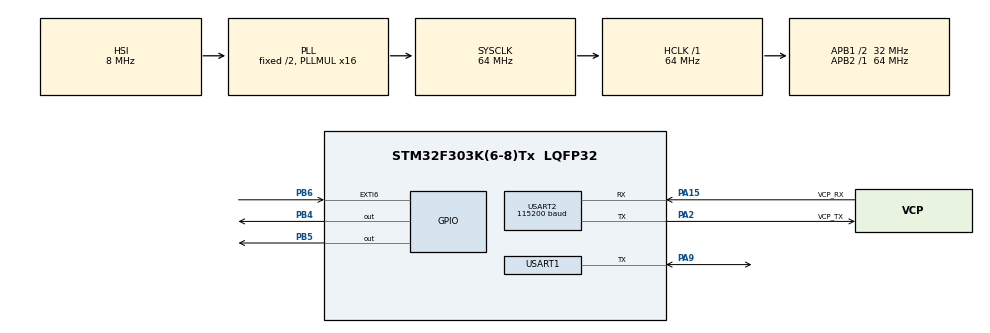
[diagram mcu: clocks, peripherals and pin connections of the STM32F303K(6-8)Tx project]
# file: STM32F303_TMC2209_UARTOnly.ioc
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Mcu.Family=STM32F3
Mcu.Name=STM32F303K(6-8)Tx
Mcu.Package=LQFP32
NVIC.EXTI9_5_IRQn=true\:1\:0\:true\:false\:true\:true\:true\:true
NVIC.PriorityGroup=NVIC_PRIORITYGROUP_4
NVIC.USART1_IRQn=true\:1\:0\:true\:false\:true\:true\:true\:true
NVIC.USART2_IRQn=true\:0\:0\:false\:false\:true\:true\:true\:true
PA13.GPIO_Label=SWDIO
PA13.Mode=Serial_Wire
PA13.Signal=SYS_JTMS-SWDIO
PA14.GPIO_Label=SWCLK
PA14.Mode=Serial_Wire
PA14.Signal=SYS_JTCK-SWCLK
PA15.GPIO_Label=VCP_RX
PA15.Mode=Asynchronous
PA15.Signal=USART2_RX
PA2.GPIO_Label=VCP_TX
PA2.Mode=Asynchronous
PA2.Signal=USART2_TX
PA9.Mode=Half_duplex(single_wire_mode)
PA9.Signal=USART1_TX
PB4.Signal=GPIO_Output
PB5.Signal=GPIO_Output
PB6.GPIO_ModeDefaultEXTI=GPIO_MODE_IT_RISING_FALLING
PB6.Signal=GPXTI6
PF0\ /\ OSC_IN.GPIO_Label=MCO
PF0\ /\ OSC_IN.Signal=RCC_OSC_IN
ProjectManager.HeapSize=0x200
ProjectManager.StackSize=0x400
ProjectManager.TargetToolchain=STM32CubeIDE
RCC.AHBFreq_Value=64000000
RCC.APB1CLKDivider=RCC_HCLK_DIV2
RCC.APB1Freq_Value=32000000
RCC.APB1TimFreq_Value=64000000
RCC.APB2Freq_Value=64000000
RCC.APB2TimFreq_Value=64000000
RCC.CortexFreq_Value=64000000
RCC.HCLKFreq_Value=64000000
RCC.HSE_VALUE=8000000
RCC.HSI_VALUE=8000000
RCC.PLLMUL=RCC_PLL_MUL16
RCC.SYSCLKFreq_VALUE=64000000
RCC.SYSCLKSourceVirtual=RCC_SYSCLKSOURCE_PLLCLK
USART1.BaudRate=500000
USART1.VirtualMode-Half_duplex(single_wire_mode)=VM_ASYNC
USART2.BaudRate=115200
USART2.VirtualMode-Asynchronous=VM_ASYNC
board=NUCLEO-F303K8

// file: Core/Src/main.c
/* USER CODE BEGIN Header */
/**
  ******************************************************************************
  * @file           : main.c
  * @brief          : Main program body
  ******************************************************************************
  * @attention
  *
  * Copyright (c) 2022 STMicroelectronics.
  * All rights reserved.
  *
  * This software is licensed under terms that can be found in the LICENSE file
  * in the root directory of this software component.
  * If no LICENSE file comes with this software, it is provided AS-IS.
  *
  ******************************************************************************
  */
/* USER CODE END Header */
#include "main.h"

/* USER CODE BEGIN Includes */
#include <stdio.h>
#include "tmc/ic/TMC2209/TMC2209.h"
#include <math.h>

/* USER CODE END Includes */

/* USER CODE BEGIN PTD */
typedef struct {
	float acceleration;
	volatile unsigned int minStepInterval;
	void (*dirFunc)(int);
	void (*stepFunc)();

	uint8_t homing;
	unsigned int c0;
	volatile int stepPosition;

	volatile int dir; // 1 or -1
	volatile int dir_inv; //set 1 to reverse the dir

	volatile int pull_off; //set pull_off distance

	volatile int seeking_vel;
	volatile int homing_vel;

	volatile unsigned int totalSteps;

	volatile char movementDone;
	volatile unsigned int rampUpStepCount;
	volatile unsigned int n; // index
	volatile float d; // current interval length
	volatile unsigned long di; // d -> unsigned  di
	volatile unsigned int stepCount;

}stepperInfo;

typedef struct{
	volatile int checkcount;
	volatile int countperiod;

}checkerInfo;

/* USER CODE END PTD */

/* USER CODE BEGIN PD */
#define TMC2209_CRC(data, length) tmc_CRC8(data, length, 1)

//#define NUM_stepper 1

/* USER CODE END PD */

 UART_HandleTypeDef huart1;
UART_HandleTypeDef huart2;

/* USER CODE BEGIN PV */
//static TMC2209TypeDef TMC2209; //TMC2209の設定などの定義
//static ConfigurationTypeDef *TMC2209_config; //TMC2209の設定
TMC2209TypeDef TMC2209; //TMC2209の設定などの定義
ConfigurationTypeDef TMC2209_config; //TMC2209の設定
volatile stepperInfo stepper[1];    //stepperInfo型の配列stepperにNUM_stepperで定義した値を代入
uint8_t uartflag1=0;
uint8_t end_stop_state=0;

/* USER CODE END PV */

void SystemClock_Config(void);
static void MX_GPIO_Init(void);
static void MX_USART2_UART_Init(void);
static void MX_USART1_UART_Init(void);
/* USER CODE BEGIN PFP */
//static void periodicJob(uint32_t tick);
static uint8_t reset(void);
static uint8_t restore(void);
//static TMC2209TypeDef TMC2209;

/* USER CODE END PFP */

/* USER CODE BEGIN 0 */
void tmc2209_readWriteArray(uint8_t channel, uint8_t *data, size_t writeLength, size_t readLength)
{
	//set your uart read write
	//UART_readWrite(channelToUART(channel), data, writeLength, readLength);
	HAL_HalfDuplex_EnableTransmitter(&huart1);
	HAL_UART_Transmit(&huart1, data, writeLength,3000);
//	HAL_UART_Transmit_IT(&huart1, data, writeLength);

	if(readLength > 0){
		HAL_HalfDuplex_EnableReceiver(&huart1);
		HAL_UART_Receive(&huart1, data, readLength,3000);
//		HAL_UART_Receive_IT(&huart1, data, readLength);
	}
}

uint8_t tmc2209_CRC8(uint8_t *data, size_t length)
{
	return TMC2209_CRC(data, length);
}

static uint8_t reset()
{
	return tmc2209_reset(&TMC2209);
}

static uint8_t restore()
{
	return tmc2209_restore(&TMC2209);
}

void TMC2209_INIT()
{
	tmc_fillCRC8Table(0x07, true, 1);

	TMC2209_config.reset = reset;
	TMC2209_config.restore = restore;
	tmc2209_init(&TMC2209, 0, 0, &TMC2209_config, &tmc2209_defaultRegisterResetState[0]);

	//restore();
}

static inline TMC2209TypeDef *motorToIC(uint8_t motor)
{
	UNUSED(motor);

	return &TMC2209;
}

void currentcheck(){
//	int32_t SGTHRS_value = 0;
//	int32_t stall_value=0;
//	int32_t value=0;

//	stall_value=tmc2209_readInt(&TMC2209,0x06);
//	stall_value=TMC2209_FIELD_READ(&TMC2209, 0x06, TMC2209_DIAG_MASK, TMC2209_DIAG_SHIFT);
//	tmc2209_periodicJob(&TMC2209, HAL_GetTick());

//	printf("stall: %ld \r\n",stall_value);
//	if(stall_value==1){
//		value = 0;
//		TMC2209_FIELD_UPDATE(&TMC2209, 0x22, TMC2209_VACTUAL_MASK, TMC2209_VACTUAL_SHIFT,value);
////		printf("stall:\r\n");
//		stall_value=0;
//		while(uartflag1!=1){
//
//				  }
//			  }
	//
//		tstep_value=TMC2209_FIELD_READ(&TMC2209, TMC2209_TSTEP, TMC2209_TSTEP_MASK, TMC2209_TSTEP_SHIFT);
//		printf("tstep: %ld\r\n", tstep_value);
//		tmc2209_periodicJob(&TMC2209, HAL_GetTick());

//		SGTHRS_value = tmc2209_readInt(&TMC2209, TMC2209_SG_RESULT);
//		printf("SG_RESULT: %d\r\n", SGTHRS_value);
//		tmc2209_periodicJob(&TMC2209, HAL_GetTick());

//		current_value=tmc2209_readInt(&TMC2209, TMC2209_SG_RESULT);	//保持トルクの設定
//		printf("SG_RESULT : %ld\r\n", current_value);

	//	value = 3;
	//	TMC2209_FIELD_UPDATE(&TMC2209, TMC2209_GCONF, TMC2209_DIAG_MASK, TMC2209_DIAG_SHIFT,value);
	//	tmc2209_periodicJob(&TMC2209, HAL_GetTick());

//		value=TMC2209_FIELD_READ(&TMC2209, TMC2209_IOIN, TMC2209_DIAG_MASK, TMC2209_DIAG_SHIFT);
//		printf("DIAG : %ld\r\n", value);
//		tmc2209_periodicJob(&TMC2209, HAL_GetTick());

}

void HAL_UART_RxCpltCallback(UART_HandleTypeDef *huart)
{
	//int32_t SGTHRS_value = 0;
	uartflag1 = 1;
	printf("uart_timer\r\n");
	//HAL_UART_Receive_IT(&huart2,(uint8_t *)rxbuf, 1);
	//SGTHRS_value = tmc2209_readInt(&TMC2209, TMC2209_SGTHRS);
	//currentdata();
}
//void HAL_GPIO_EXTI_Callback(uint16_t GPIO_Pin)
//{
//	//stepper 0 end stop senssor
//	if(GPIO_Pin == GPIO_PIN_6 ){
//		if(!HAL_GPIO_ReadPin(GPIOB, GPIO_PIN_6)){
//			end_stop_state |= 1;
//		}
//		if(HAL_GPIO_ReadPin(GPIOB, GPIO_PIN_6)){
//			end_stop_state &= ~1;
//		}
//	}
//}

void TMCsetup(){
	int32_t value = 0;

	value = 16;
	TMC2209_FIELD_UPDATE(&TMC2209, TMC2209_IHOLD_IRUN, TMC2209_IRUN_MASK, TMC2209_IRUN_SHIFT, value);	//実行電流
	tmc2209_periodicJob(&TMC2209, HAL_GetTick());
	HAL_Delay(100);
	value=TMC2209_FIELD_READ(&TMC2209, TMC2209_IHOLD_IRUN, TMC2209_IRUN_MASK, TMC2209_IRUN_SHIFT);
	printf("IRUN: %ld\r\n", value);

	value= 16;																						//モーター待機時の電流の設定
	TMC2209_FIELD_UPDATE(&TMC2209,TMC2209_IHOLD_IRUN, TMC2209_IHOLD_MASK, TMC2209_IHOLD_SHIFT, value);
	tmc2209_periodicJob(&TMC2209, HAL_GetTick());
	HAL_Delay(100);
	value=TMC2209_FIELD_READ(&TMC2209, TMC2209_IHOLD_IRUN, TMC2209_IHOLD_MASK, TMC2209_IHOLD_SHIFT);	//保持電流
	printf("IHOLD: %ld\r\n", value);

	value=0;
	value = TMC2209_FIELD_READ(&TMC2209, TMC2209_GCONF, TMC2209_PDN_DISABLE_MASK,TMC2209_PDN_DISABLE_SHIFT);
	printf("pdn_disable : %ld\r\n", value);
	value = 1;
	TMC2209_FIELD_UPDATE(&TMC2209, TMC2209_GCONF, TMC2209_PDN_DISABLE_MASK, TMC2209_PDN_DISABLE_SHIFT, value);
	tmc2209_periodicJob(&TMC2209, HAL_GetTick());
	value=TMC2209_FIELD_READ(&TMC2209, TMC2209_GCONF, TMC2209_PDN_DISABLE_MASK, TMC2209_PDN_DISABLE_SHIFT);
	printf("pdn_disable : %ld\r\n", value);

	value=300;
	tmc2209_writeInt(&TMC2209, TMC2209_TCOOLTHRS, value);
	tmc2209_periodicJob(&TMC2209, HAL_GetTick());
	printf("TCOOLTHRS: %ld\r\n", value);

	value=0;
	value = TMC2209_FIELD_READ(&TMC2209, TMC2209_GCONF, TMC2209_EN_SPREADCYCLE_MASK,TMC2209_EN_SPREADCYCLE_SHIFT);
	printf("SPREADCYCLE : %ld\r\n", value);
	value = 0;
	TMC2209_FIELD_UPDATE(&TMC2209, TMC2209_GCONF, TMC2209_EN_SPREADCYCLE_MASK, TMC2209_EN_SPREADCYCLE_SHIFT ,value);
	tmc2209_periodicJob(&TMC2209, HAL_GetTick());
	value=TMC2209_FIELD_READ(&TMC2209, TMC2209_GCONF, TMC2209_EN_SPREADCYCLE_MASK,TMC2209_EN_SPREADCYCLE_SHIFT);
	printf("SPREADCYCLE : %ld\r\n", value);

//	value=10;
//	tmc2209_writeInt(&TMC2209, TMC2209_TPWMTHRS, value);
//	tmc2209_periodicJob(&TMC2209, HAL_GetTick());
//	printf("TPWMTHRS: %ld\r\n", value);

	value=0;
	value = TMC2209_FIELD_READ(&TMC2209, TMC2209_GCONF, TMC2209_INTERNAL_RSENSE_MASK,TMC2209_INTERNAL_RSENSE_SHIFT);
	printf("RSENSE : %ld\r\n", value);
	value = 0;
	TMC2209_FIELD_UPDATE(&TMC2209, TMC2209_GCONF, TMC2209_INTERNAL_RSENSE_MASK, TMC2209_INTERNAL_RSENSE_SHIFT, value);
	tmc2209_periodicJob(&TMC2209, HAL_GetTick());
	value=TMC2209_FIELD_READ(&TMC2209, TMC2209_GCONF, TMC2209_INTERNAL_RSENSE_MASK, TMC2209_INTERNAL_RSENSE_SHIFT);
	printf("RSENSE : %ld\r\n", value);

	value=0;
	value = TMC2209_FIELD_READ(&TMC2209, TMC2209_PWMCONF, TMC2209_PWM_FREQ_MASK, TMC2209_PWM_FREQ_SHIFT);
	printf("PWM_FREQ : %ld\r\n", value);
	value=1;
	TMC2209_FIELD_UPDATE(&TMC2209, TMC2209_PWMCONF, TMC2209_PWM_FREQ_MASK, TMC2209_PWM_FREQ_SHIFT, value);
	value = TMC2209_FIELD_READ(&TMC2209, TMC2209_PWMCONF, TMC2209_PWM_FREQ_MASK, TMC2209_PWM_FREQ_SHIFT);
	printf("PWM_FREQ : %ld\r\n", value);

	value=0;
	value = TMC2209_FIELD_READ(&TMC2209,TMC2209_COOLCONF, TMC2209_SEIMIN_MASK, TMC2209_SEIMIN_SHIFT);
	printf("SEIMIN : %ld\r\n", value);

	value=0;
	value = TMC2209_FIELD_READ(&TMC2209, TMC2209_DRVSTATUS, TMC2209_CS_ACTUAL_MASK, TMC2209_CS_ACTUAL_SHIFT);
	printf("DRVSTATUS : %ld\r\n", value);

	value=0;
	value = TMC2209_FIELD_READ(&TMC2209, TMC2209_GCONF, TMC2209_MSTEP_REG_SELECT_MASK,TMC2209_MSTEP_REG_SELECT_SHIFT);	//uartでのmicrostepの有効化
	printf("mstep_before : %ld\r\n", value);
	value = 1;
	TMC2209_FIELD_UPDATE(&TMC2209, TMC2209_GCONF, TMC2209_MSTEP_REG_SELECT_MASK, TMC2209_MSTEP_REG_SELECT_SHIFT,value);
	tmc2209_periodicJob(&TMC2209, HAL_GetTick());
	value=TMC2209_FIELD_READ(&TMC2209, TMC2209_GCONF, TMC2209_MSTEP_REG_SELECT_MASK, TMC2209_MSTEP_REG_SELECT_SHIFT);
	printf("mstep_after : %ld\r\n", value);

	value=0;
	value=TMC2209_FIELD_READ(&TMC2209, TMC2209_CHOPCONF, TMC2209_TOFF_MASK, TMC2209_TOFF_SHIFT);	//保持トルクの設定
	printf("toff_before : %ld\r\n", value);
	value = 3;
	TMC2209_FIELD_UPDATE(&TMC2209, TMC2209_CHOPCONF, TMC2209_TOFF_MASK, TMC2209_TOFF_SHIFT,value);
	tmc2209_periodicJob(&TMC2209, HAL_GetTick());
	value=TMC2209_FIELD_READ(&TMC2209, TMC2209_CHOPCONF, TMC2209_TOFF_MASK, TMC2209_TOFF_SHIFT);
	printf("toff_after : %ld\r\n", value);

	value = 256 >> TMC2209_FIELD_READ(&TMC2209, TMC2209_CHOPCONF, TMC2209_MRES_MASK, TMC2209_MRES_SHIFT);	//microstepの設定
	printf("microstep_before : %ld\r\n", value);
	value = 4;
	TMC2209_FIELD_UPDATE(&TMC2209, TMC2209_CHOPCONF, TMC2209_MRES_MASK, TMC2209_MRES_SHIFT,value);
	tmc2209_periodicJob(&TMC2209, HAL_GetTick());
	value = 256 >> TMC2209_FIELD_READ(&TMC2209, TMC2209_CHOPCONF, TMC2209_MRES_MASK, TMC2209_MRES_SHIFT);
	printf("microstep_after : %ld\r\n", value);

	value=4;
	TMC2209_FIELD_UPDATE(&TMC2209, TMC2209_IHOLD_IRUN, TMC2209_IHOLDDELAY_MASK, TMC2209_IHOLDDELAY_SHIFT, value);
	tmc2209_periodicJob(&TMC2209, HAL_GetTick());
	value=TMC2209_FIELD_READ(&TMC2209, TMC2209_IHOLD_IRUN, TMC2209_IHOLDDELAY_MASK, TMC2209_IHOLDDELAY_SHIFT);
	printf("IHOLDDELAY: %ld\r\n", value);

	value=50;											//SG_RESULTと比較して、
	tmc2209_writeInt(&TMC2209, TMC2209_SGTHRS, value);
	tmc2209_periodicJob(&TMC2209, HAL_GetTick());
	value = tmc2209_readInt(&TMC2209, TMC2209_SGTHRS);
	printf("SGTHRS: %ld\r\n", value);

	value = 100;
	TMC2209_FIELD_UPDATE(&TMC2209, TMC2209_PWMCONF, TMC2209_PWM_GRAD_MASK, TMC2209_PWM_GRAD_SHIFT, value);
	value = TMC2209_FIELD_READ(&TMC2209, TMC2209_PWMCONF, TMC2209_PWM_GRAD_MASK, TMC2209_PWM_GRAD_SHIFT);
	tmc2209_periodicJob(&TMC2209, HAL_GetTick());
	printf("PWM_GRAD: %ld\r\n", value);

	value=5;
	TMC2209_FIELD_UPDATE(&TMC2209, TMC2209_COOLCONF, TMC2209_SEMIN_MASK, TMC2209_SEMIN_SHIFT, value);
	tmc2209_periodicJob(&TMC2209, HAL_GetTick());
	printf("SEMIN: %ld\r\n", value);

	value = 2;
	TMC2209_FIELD_UPDATE(&TMC2209, TMC2209_COOLCONF, TMC2209_SEMAX_MASK, TMC2209_SEMAX_SHIFT, value);
	tmc2209_periodicJob(&TMC2209, HAL_GetTick());
	printf("SEMAX: %ld\r\n", value);

	value = TMC2209_FIELD_READ(&TMC2209, TMC2209_CHOPCONF, TMC2209_TBL_MASK, TMC2209_TBL_SHIFT);
	tmc2209_periodicJob(&TMC2209, HAL_GetTick());
	value = 1;
	TMC2209_FIELD_UPDATE(&TMC2209, TMC2209_CHOPCONF, TMC2209_TBL_MASK, TMC2209_TBL_SHIFT, value);
	value = TMC2209_FIELD_READ(&TMC2209, TMC2209_CHOPCONF, TMC2209_TBL_MASK, TMC2209_TBL_SHIFT);
	printf("TBL: %ld\r\n", value);

	value = TMC2209_FIELD_READ(&TMC2209, TMC2209_PWMCONF, TMC2209_PWM_GRAD_MASK, TMC2209_PWM_GRAD_SHIFT);
	tmc2209_periodicJob(&TMC2209, HAL_GetTick());
	printf("PWM_GRAD: %ld\r\n", value);

	value = TMC2209_FIELD_READ(&TMC2209, TMC2209_PWMCONF, TMC2209_PWM_AUTOSCALE_MASK, TMC2209_PWM_AUTOSCALE_SHIFT);
	tmc2209_periodicJob(&TMC2209, HAL_GetTick());
	printf("autoscale: %ld\r\n", value);

	value = tmc2209_readInt(&TMC2209,TMC2209_PWM_AUTO);
	tmc2209_periodicJob(&TMC2209, HAL_GetTick());
	printf("PWMAuto: %ld\r\n", value);

	value = tmc2209_readInt(&TMC2209,TMC2209_PWMSCALE);
	tmc2209_periodicJob(&TMC2209, HAL_GetTick());
	printf("PWMSCALE: %ld\r\n", value);

	value = 0;
	value = TMC2209_FIELD_READ(&TMC2209, 0x07, TMC2209_FCLKTRIM_MASK, TMC2209_FCLKTRIM_SHIFT);

	tmc2209_periodicJob(&TMC2209, HAL_GetTick());
	printf("frequency: %ld\r\n", value);

//	value = 0;
//	TMC2209_FIELD_UPDATE(&TMC2209, TMC2209_GCONF, TMC2209_INDEX_OTPW_MASK, TMC2209_INDEX_OTPW_SHIFT,value);

}

/* USER CODE END 0 */

int main(void)
{
  /* USER CODE BEGIN 1 */
	setbuf(stdout, NULL);
	//uint8_t buffer[256];
	//char rxbuf[1];
	char start[] ="1:front,2:back\r\n";
//	char front[] ="front turn\r\n";
//	char back[] ="back turn\r\n";
	char nonans[] ="Not Understand \r\n";
	char rxbuf[1];
	int value=0;
	int setvalue=0;

  /* USER CODE END 1 */

  /* MCU Configuration--------------------------------------------------------*/

  /* Reset of all peripherals, Initializes the Flash interface and the Systick. */
  HAL_Init();

  /* Configure the system clock */
  SystemClock_Config();

  /* Initialize all configured peripherals */
  MX_GPIO_Init();
  MX_USART2_UART_Init();
  MX_USART1_UART_Init();
  /* USER CODE BEGIN 2 */
  //int getserial=0;
  TMC2209_INIT();
//  TMCsetup();
  printf("Hello\r\n");
  HAL_UART_Transmit(&huart2,(uint8_t *)start,sizeof(start),3000);
  TMCsetup();
  //HAL_TIM_Base_Start_IT(&htim2);
//  HAL_TIM_OC_Start_IT(&htim3, TIM_CHANNEL_1);

  rxbuf[0]=0;
  uartflag1=0;
  uint8_t stall_value=0;
  int setrev;
  int motorrev;
//  uint8_t index_value=0;
  /* USER CODE END 2 */

  /* Infinite loop */
  while (1)
  {

    /* USER CODE BEGIN 3 */
//	  currentcheck();
	  //example read register value
	  //int32_t value = 0;
	  HAL_UART_Receive_IT(&huart2,(uint8_t *)rxbuf, 1);
//	  while(uartflag1==0){
//		  ;
//	  }
	  HAL_UART_Transmit(&huart2,(uint8_t *)rxbuf,sizeof(rxbuf),100);
	  stall_value=0;
	  stall_value=TMC2209_FIELD_READ(&TMC2209, TMC2209_IOIN, TMC2209_DIAG_MASK, TMC2209_DIAG_SHIFT);
//	  index_value=TMC2209_FIELD_READ(&TMC2209, TMC2209_MSCNT, TMC2209_MSCNT_MASK, TMC2209_MSCNT_SHIFT);
//	  index_value=TMC2209_FIELD_READ(&TMC2209, TMC2209_MSCURACT, TMC2209_CUR_A_MASK, TMC2209_CUR_A_SHIFT);

//	  index_value=TMC2209_FIELD_READ(&TMC2209, TMC2209_GCONF, TMC2209_INDEX_STEP_MASK, TMC2209_INDEX_STEP_SHIFT);
//	  index_value=TMC2209_FIELD_READ(&TMC2209, TMC2209_GCONF, TMC2209_INDEX_OTPW_MASK, TMC2209_INDEX_OTPW_SHIFT);
	  HAL_Delay(10);
//	  printf("stall: %d \r\n",stall_value);
//	  printf("index: %d \r\n",index_value);

	  if(stall_value==1){
		  value = 0;
		  TMC2209_FIELD_UPDATE(&TMC2209, 0x22, TMC2209_VACTUAL_MASK, TMC2209_VACTUAL_SHIFT,value);
		  printf("stall:\r\n");
		  stall_value=0;
		  while(uartflag1!=1){

		  }
	  }

	  if(rxbuf[0]!=0 && uartflag1==1){
		  switch(rxbuf[0]){
		  case's':
			  TMCsetup();
			  rxbuf[0]=0;
			  break;
		  case'a':
			  value = 0;
			  TMC2209_FIELD_UPDATE(&TMC2209, TMC2209_GCONF, TMC2209_SHAFT_MASK, TMC2209_SHAFT_SHIFT ,value);
			  rxbuf[0]=0;
			  break;
		  case'd':
			  value = 1;
			  TMC2209_FIELD_UPDATE(&TMC2209, TMC2209_GCONF, TMC2209_SHAFT_MASK, TMC2209_SHAFT_SHIFT ,value);
			  rxbuf[0]=0;
			  break;

		  case'1':
			  setrev = 1000;
			  setvalue = setrev*setrev;
			  for(int i = 0;i<=10000;i+=100){
				  TMC2209_FIELD_UPDATE(&TMC2209, 0x22, TMC2209_VACTUAL_MASK, TMC2209_VACTUAL_SHIFT,i);
				  HAL_Delay(100);

			  			  }

//			  for(int i = 0;i<=setrev;i+=10){
//				  motorrev=(10000*((i*i)/setvalue));
//				  TMC2209_FIELD_UPDATE(&TMC2209, 0x22, TMC2209_VACTUAL_MASK, TMC2209_VACTUAL_SHIFT,motorrev);
//				  HAL_Delay(100);
//			  }
			  rxbuf[0]=0;
			  break;

		  case'2':
			  value = 0;
			  TMC2209_FIELD_UPDATE(&TMC2209, 0x22, TMC2209_VACTUAL_MASK, TMC2209_VACTUAL_SHIFT,value);
			  rxbuf[0]=0;
			  break;

		  case'3':
			  value = 10000;
			  TMC2209_FIELD_UPDATE(&TMC2209, 0x22, TMC2209_VACTUAL_MASK, TMC2209_VACTUAL_SHIFT,value);
			  rxbuf[0]=0;
			  break;

		  default:
			  HAL_UART_Transmit(&huart2,(uint8_t *)nonans, sizeof(nonans),3000);
			  rxbuf[0]=0;
			  break;

		  }
		  uartflag1=0;
	  }
	  if(end_stop_state==1){
		  value = 0;
		  TMC2209_FIELD_UPDATE(&TMC2209, 0x22, TMC2209_VACTUAL_MASK, TMC2209_VACTUAL_SHIFT,value);
		  end_stop_state=0;
	  }

	  //HAL_Delay(100);
  }

  /* USER CODE END 3 */
}

void SystemClock_Config(void)
{
  RCC_OscInitTypeDef RCC_OscInitStruct = {0};
  RCC_ClkInitTypeDef RCC_ClkInitStruct = {0};
  RCC_PeriphCLKInitTypeDef PeriphClkInit = {0};

  /** Initializes the RCC Oscillators according to the specified parameters
  * in the RCC_OscInitTypeDef structure.
  */
  RCC_OscInitStruct.OscillatorType = RCC_OSCILLATORTYPE_HSI;
  RCC_OscInitStruct.HSIState = RCC_HSI_ON;
  RCC_OscInitStruct.HSICalibrationValue = RCC_HSICALIBRATION_DEFAULT;
  RCC_OscInitStruct.PLL.PLLState = RCC_PLL_ON;
  RCC_OscInitStruct.PLL.PLLSource = RCC_PLLSOURCE_HSI;
  RCC_OscInitStruct.PLL.PLLMUL = RCC_PLL_MUL16;
  if (HAL_RCC_OscConfig(&RCC_OscInitStruct) != HAL_OK)
  {
    Error_Handler();
  }

  /** Initializes the CPU, AHB and APB buses clocks
  */
  RCC_ClkInitStruct.ClockType = RCC_CLOCKTYPE_HCLK|RCC_CLOCKTYPE_SYSCLK
                              |RCC_CLOCKTYPE_PCLK1|RCC_CLOCKTYPE_PCLK2;
  RCC_ClkInitStruct.SYSCLKSource = RCC_SYSCLKSOURCE_PLLCLK;
  RCC_ClkInitStruct.AHBCLKDivider = RCC_SYSCLK_DIV1;
  RCC_ClkInitStruct.APB1CLKDivider = RCC_HCLK_DIV2;
  RCC_ClkInitStruct.APB2CLKDivider = RCC_HCLK_DIV1;

  if (HAL_RCC_ClockConfig(&RCC_ClkInitStruct, FLASH_LATENCY_2) != HAL_OK)
  {
    Error_Handler();
  }
  PeriphClkInit.PeriphClockSelection = RCC_PERIPHCLK_USART1;
  PeriphClkInit.Usart1ClockSelection = RCC_USART1CLKSOURCE_PCLK1;
  if (HAL_RCCEx_PeriphCLKConfig(&PeriphClkInit) != HAL_OK)
  {
    Error_Handler();
  }
}

static void MX_USART1_UART_Init(void)
{

  huart1.Instance = USART1;
  huart1.Init.BaudRate = 500000;
  huart1.Init.WordLength = UART_WORDLENGTH_8B;
  huart1.Init.StopBits = UART_STOPBITS_1;
  huart1.Init.Parity = UART_PARITY_NONE;
  huart1.Init.Mode = UART_MODE_TX_RX;
  huart1.Init.HwFlowCtl = UART_HWCONTROL_NONE;
  huart1.Init.OverSampling = UART_OVERSAMPLING_16;
  huart1.Init.OneBitSampling = UART_ONE_BIT_SAMPLE_DISABLE;
  huart1.AdvancedInit.AdvFeatureInit = UART_ADVFEATURE_NO_INIT;
  if (HAL_HalfDuplex_Init(&huart1) != HAL_OK)
  {
    Error_Handler();
  }

}

static void MX_USART2_UART_Init(void)
{

  huart2.Instance = USART2;
  huart2.Init.BaudRate = 115200;
  huart2.Init.WordLength = UART_WORDLENGTH_8B;
  huart2.Init.StopBits = UART_STOPBITS_1;
  huart2.Init.Parity = UART_PARITY_NONE;
  huart2.Init.Mode = UART_MODE_TX_RX;
  huart2.Init.HwFlowCtl = UART_HWCONTROL_NONE;
  huart2.Init.OverSampling = UART_OVERSAMPLING_16;
  huart2.Init.OneBitSampling = UART_ONE_BIT_SAMPLE_DISABLE;
  huart2.AdvancedInit.AdvFeatureInit = UART_ADVFEATURE_NO_INIT;
  if (HAL_UART_Init(&huart2) != HAL_OK)
  {
    Error_Handler();
  }

}

static void MX_GPIO_Init(void)
{
  GPIO_InitTypeDef GPIO_InitStruct = {0};

  /* GPIO Ports Clock Enable */
  __HAL_RCC_GPIOF_CLK_ENABLE();
  __HAL_RCC_GPIOA_CLK_ENABLE();
  __HAL_RCC_GPIOB_CLK_ENABLE();

  /*Configure GPIO pin Output Level */
  HAL_GPIO_WritePin(GPIOB, GPIO_PIN_4|GPIO_PIN_5, GPIO_PIN_RESET);

  /*Configure GPIO pins : PB4 PB5 */
  GPIO_InitStruct.Pin = GPIO_PIN_4|GPIO_PIN_5;
  GPIO_InitStruct.Mode = GPIO_MODE_OUTPUT_PP;
  GPIO_InitStruct.Pull = GPIO_NOPULL;
  GPIO_InitStruct.Speed = GPIO_SPEED_FREQ_LOW;
  HAL_GPIO_Init(GPIOB, &GPIO_InitStruct);

  /*Configure GPIO pin : PB6 */
  GPIO_InitStruct.Pin = GPIO_PIN_6;
  GPIO_InitStruct.Mode = GPIO_MODE_IT_RISING_FALLING;
  GPIO_InitStruct.Pull = GPIO_NOPULL;
  HAL_GPIO_Init(GPIOB, &GPIO_InitStruct);

  /* EXTI interrupt init*/
  HAL_NVIC_SetPriority(EXTI9_5_IRQn, 1, 0);
  HAL_NVIC_EnableIRQ(EXTI9_5_IRQn);

}

/* USER CODE BEGIN 4 */
int _write(int file, char *ptr, int len)
{
	HAL_UART_Transmit(&huart2,(uint8_t *)ptr,len,10);
//  HAL_UART_Transmit_IT(&huart2,(uint8_t *)ptr,len);

  return len;
}

//int _write(int file, char *ptr, int len)
//{
//  int DataIdx;
//  for(DataIdx=0; DataIdx<len; DataIdx++)
//  {
//    ITM_SendChar(*ptr++);
//  }
//  return len;
//}

/* USER CODE END 4 */

void Error_Handler(void)
{
  __disable_irq();
  while (1)
  {
  }
}
